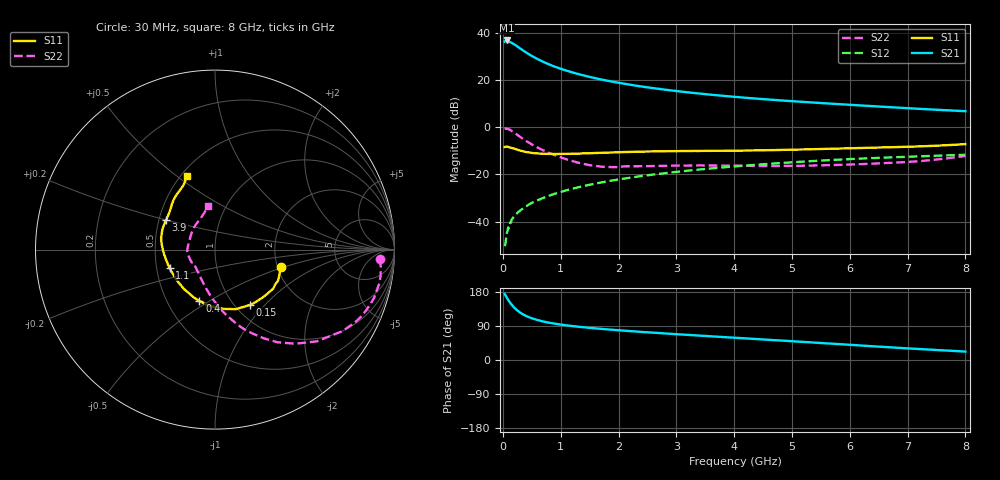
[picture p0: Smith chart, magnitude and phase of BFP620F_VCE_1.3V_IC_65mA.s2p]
! Infineon Technologies  Discrete & RF Semiconductors
! BFP620F
! VCE =  1.3 V,  IC =  65 mA
! Common Emitter S-Parameters:  Dec 2014
# GHz  S  MA  R  50
!  f  S11  S21  S12  S22
! GHz  MAG  ANG  MAG  ANG  MAG  ANG  MAG  ANG
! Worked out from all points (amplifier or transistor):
!   95 points, 30 MHz to 8 GHz, reference 50 ohm
!   highest |S21| = 36.9 dB at 70 MHz (marker M1)
!   |S21| within 3 dB of that: start of sweep to 277.3 MHz
!   unconditionally stable (mu >= 1): 1.667 GHz to end of sweep
!   at 300 MHz: K = 0.55, MSG = 34.4 dB, |S12| = -35.3 dB
!   at 3.3 GHz: K = 1.03, MAG = 15.3 dB, |S12| = -18.2 dB
!   at 8 GHz: K = 1.05, MAG = 7.9 dB, |S12| = -11.7 dB
!   S11 on the Smith chart (normalised r, x): 30 MHz: 2.09, -0.47; 150 MHz: 1.17, -0.83; 400 MHz: 0.72, -0.45; 1.1 GHz: 0.59, -0.13; 3.9 GHz: 0.55, +0.20; 8 GHz: 0.53, +0.54
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0.03  0.3809 -14.7  66.02 174.4  0.003 108.0  0.9189 -3.2
0.05  0.3872 -23.0  68.7 169.4  0.0038 71.1  0.9341 -9.1
0.07  0.3875 -30.2  69.62 164.1  0.0058 76.3  0.9292 -14.2
0.1  0.3804 -41.3  66.84 156.6  0.0071 78.7  0.9085 -21.6
0.15  0.3652 -57.5  62.43 146.2  0.0109 76.0  0.8401 -32.9
0.2  0.3517 -70.6  57.2 137.6  0.013 73.3  0.7639 -42.0
0.25  0.3343 -81.4  52.05 130.7  0.0152 70.9  0.6897 -49.5
0.3  0.3198 -90.7  47.11 125.0  0.0172 69.4  0.6238 -55.9
0.35  0.3096 -99.5  42.59 120.3  0.0191 69.8  0.5649 -61.1
0.4  0.2988 -106.8  38.84 116.4  0.0208 69.2  0.5131 -65.8
0.5  0.2853 -118.7  32.65 110.2  0.0249 68.9  0.4344 -73.5
0.7  0.2737 -136.7  24.42 101.5  0.0317 69.3  0.3241 -85.8
0.9  0.2706 -149.1  19.33 95.8  0.0389 69.0  0.2555 -96.1
1.1  0.2721 -158.4  15.92 91.4  0.046 69.0  0.2092 -106.2
1.4  0.2796 -168.8  12.57 86.4  0.0569 68.3  0.1665 -121.4
1.9  0.2923 178.7  9.271 79.7  0.0745 66.3  0.1427 -145.9
2.7  0.3091 164.8  6.531 71.1  0.1026 61.8  0.1512 -165.7
3.9  0.3184 149.0  4.55 59.7  0.1439 54.1  0.1536 178.8
4.1  0.32 146.7  4.334 57.9  0.1506 52.6  0.1527 175.8
5.4  0.3437 135.0  3.332 45.8  0.1934 43.0  0.1548 152.2
6.7  0.3771 123.3  2.672 33.5  0.2296 32.8  0.176 127.0
8  0.4396 111.1  2.196 22.2  0.2607 23.0  0.2464 98.9
